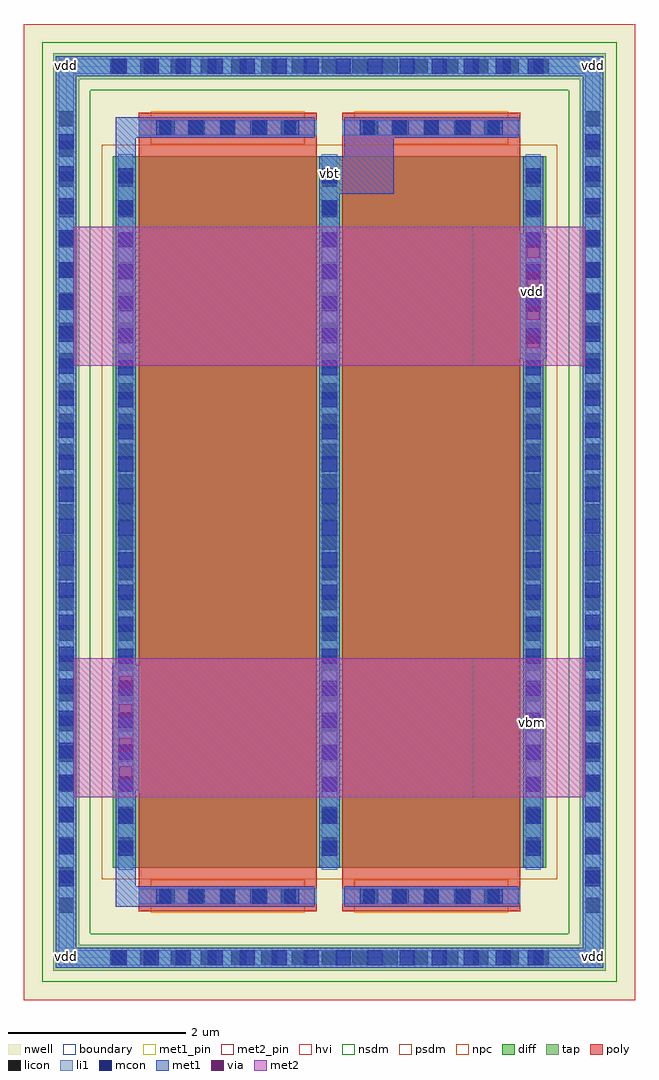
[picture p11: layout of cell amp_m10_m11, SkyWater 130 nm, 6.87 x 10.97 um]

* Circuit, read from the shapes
.subckt amp_m10_m11 vbm vbt vdd
XM1 vbt vbm vbm vdd sky130_fd_pr__pfet_g5v0d10v5 w=8 l=2
XM2 vdd vbt vbt vdd sky130_fd_pr__pfet_g5v0d10v5 w=8 l=2
.ends

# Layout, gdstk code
from math import pi, radians
import gdstk
lib = gdstk.Library(unit=1e-6, precision=1e-09)
def R(c, l, rs):  # rectangles x0, y0, x1, y1
    for r in rs: c.add(gdstk.rectangle(r[:2], r[2:], *l))
def A(c, l, x, y, w, h, nx, ny, dx, dy):  # array of equal rectangles
    R(c, l, [(x+i*dx, y+j*dy, x+i*dx+w, y+j*dy+h) for i in range(nx) for j in range(ny)])
def P(c, l, *ps):  # polygons
    for p in ps: c.add(gdstk.Polygon(p, *l))
nwell = (64, 20)
diff = (65, 20)
tap = (65, 44)
poly = (66, 20)
licon = (66, 44)
li1 = (67, 20)
mcon = (67, 44)
met1_pin = (68, 16)
met1 = (68, 20)
via = (68, 44)
met2_pin = (69, 16)
met2 = (69, 20)
hvi = (75, 20)
nsdm = (93, 44)
psdm = (94, 20)
npc = (95, 20)
boundary = (235, 4)

via__m1_m2 = lib.new_cell('via__M1_M2')
R(via__m1_m2, met1, [(0,0.05,0.7,0.35)])
R(via__m1_m2, via, [(0.115,0.125,0.265,0.275), (0.435,0.125,0.585,0.275)])
R(via__m1_m2, met2, [(0.05,0,0.65,0.4)])

via__li_m1 = lib.new_cell('via__LI_M1')
R(via__li_m1, li1, [(0.03,0.03,0.56,0.2)])
R(via__li_m1, mcon, [(0.03,0.03,0.2,0.2), (0.39,0.03,0.56,0.2)])
R(via__li_m1, met1, [(0,0,0.59,0.23)])

sky130_fd_pr__pfet_g5v0d = lib.new_cell('sky130_fd_pr__pfet_g5v0d10v5_2E4VHB')
R(sky130_fd_pr__pfet_g5v0d, nwell, [(0,0,6.87,10.97)])
R(sky130_fd_pr__pfet_g5v0d, diff, [(1,1.485,5.87,9.485)])
R(sky130_fd_pr__pfet_g5v0d, tap, [(0.33,0.33,6.54,0.62), (0.33,0.62,0.62,10.35), (6.25,0.62,6.54,10.35), (0.33,10.35,6.54,10.64)])
R(sky130_fd_pr__pfet_g5v0d, poly, [(1.29,1,3.29,9.97), (3.58,1,5.58,9.97)])
A(sky130_fd_pr__pfet_g5v0d, licon, 0.97, 0.39, 0.17, 0.17, 15, 2, 0.34, 10.02)
A(sky130_fd_pr__pfet_g5v0d, licon, 0.39, 0.98, 0.17, 0.17, 1, 27, 0, 0.34)
A(sky130_fd_pr__pfet_g5v0d, licon, 6.31, 0.98, 0.17, 0.17, 1, 27, 0, 0.34)
A(sky130_fd_pr__pfet_g5v0d, licon, 1.525, 1.08, 0.17, 0.17, 5, 2, 0.34, 8.64)
A(sky130_fd_pr__pfet_g5v0d, licon, 3.815, 1.08, 0.17, 0.17, 5, 2, 0.34, 8.64)
A(sky130_fd_pr__pfet_g5v0d, licon, 1.06, 1.66, 0.17, 0.17, 3, 23, 2.29, 0.34)
A(sky130_fd_pr__pfet_g5v0d, li1, 1.06, 1.465, 0.17, 8.04, 3, 1, 2.29, 0)
R(sky130_fd_pr__pfet_g5v0d, li1, [(0.39,0.39,6.48,0.56), (0.39,0.56,0.56,10.41), (6.31,0.56,6.48,10.41), (1.29,1.08,3.29,1.25), (3.58,1.08,5.58,1.25), (1.29,9.72,3.29,9.89), (3.58,9.72,5.58,9.89), (0.39,10.41,6.48,10.58)])
A(sky130_fd_pr__pfet_g5v0d, mcon, 1.485, 1.08, 0.17, 0.17, 5, 2, 0.36, 8.64)
A(sky130_fd_pr__pfet_g5v0d, mcon, 3.775, 1.08, 0.17, 0.17, 5, 2, 0.36, 8.64)
A(sky130_fd_pr__pfet_g5v0d, mcon, 1.06, 1.62, 0.17, 0.17, 3, 22, 2.29, 0.36)
A(sky130_fd_pr__pfet_g5v0d, met1, 1.03, 1.485, 0.23, 8, 3, 1, 2.29, 0)
R(sky130_fd_pr__pfet_g5v0d, met1, [(1.31,1.05,3.27,1.28), (3.6,1.05,5.56,1.28), (1.31,9.69,3.27,9.92), (3.6,9.69,5.56,9.92)])
R(sky130_fd_pr__pfet_g5v0d, hvi, [(0,0,6.87,10.97)])
R(sky130_fd_pr__pfet_g5v0d, nsdm, [(0.205,0.205,6.665,0.745), (0.205,0.745,0.745,10.225), (6.125,0.745,6.665,10.225), (0.205,10.225,6.665,10.765)])
R(sky130_fd_pr__pfet_g5v0d, psdm, [(0.875,1.36,5.995,9.61)])
R(sky130_fd_pr__pfet_g5v0d, npc, [(1.425,0.98,3.155,1.35), (3.715,0.98,5.445,1.35), (1.425,9.62,3.155,9.99), (3.715,9.62,5.445,9.99)])
R(sky130_fd_pr__pfet_g5v0d, boundary, [(0.475,0.475,6.395,10.495)])

amp_m10_m11 = lib.new_cell('amp_m10_m11')
R(amp_m10_m11, met1_pin, [(0.36,0.36,0.59,0.59), (6.28,0.36,6.51,0.59), (3.32,9.065,3.55,9.485), (0.36,10.38,0.59,10.61), (6.28,10.38,6.51,10.61)])
R(amp_m10_m11, met1, [(0.36,0.36,6.51,0.59), (0.36,0.36,0.59,10.61), (6.28,0.36,6.51,10.61), (3.32,9.06,4.155,9.485), (3.6,9.06,4.155,9.92), (0.36,10.38,6.51,10.61)])
P(amp_m10_m11, met1, [(1.03,1.05),(1.03,1.485),(1.26,1.485),(1.26,1.28),(1.31,1.28),(1.31,1.05)],
  [(1.03,9.485),(1.03,9.92),(1.31,9.92),(1.31,9.69),(1.26,9.69),(1.26,9.485)])
R(amp_m10_m11, met2_pin, [(5.045,2.28,6.31,3.84), (5.045,7.13,6.31,8.69)])
R(amp_m10_m11, met2, [(0.56,2.28,6.31,3.84), (0.56,7.13,6.31,8.69)])
amp_m10_m11.add(gdstk.Reference(via__m1_m2, (0.945,3.06), rotation=3*pi/2))
amp_m10_m11.add(gdstk.Reference(via__m1_m2, (0.945,3.76), rotation=3*pi/2))
amp_m10_m11.add(gdstk.Reference(via__m1_m2, (5.525,7.91), rotation=3*pi/2))
amp_m10_m11.add(gdstk.Reference(via__m1_m2, (5.525,8.61), rotation=3*pi/2))
amp_m10_m11.add(gdstk.Reference(via__li_m1, (0.36,1.84), rotation=3*pi/2))
amp_m10_m11.add(gdstk.Reference(via__li_m1, (6.28,1.84), rotation=3*pi/2))
amp_m10_m11.add(gdstk.Reference(via__li_m1, (0.36,2.56), rotation=3*pi/2))
amp_m10_m11.add(gdstk.Reference(via__li_m1, (6.28,2.56), rotation=3*pi/2))
amp_m10_m11.add(gdstk.Reference(via__li_m1, (0.36,3.28), rotation=3*pi/2))
amp_m10_m11.add(gdstk.Reference(via__li_m1, (6.28,3.28), rotation=3*pi/2))
amp_m10_m11.add(gdstk.Reference(via__li_m1, (0.36,4), rotation=3*pi/2))
amp_m10_m11.add(gdstk.Reference(via__li_m1, (6.28,4), rotation=3*pi/2))
amp_m10_m11.add(gdstk.Reference(via__li_m1, (0.36,4.72), rotation=3*pi/2))
amp_m10_m11.add(gdstk.Reference(via__li_m1, (6.28,4.72), rotation=3*pi/2))
amp_m10_m11.add(gdstk.Reference(via__li_m1, (0.36,5.44), rotation=3*pi/2))
amp_m10_m11.add(gdstk.Reference(via__li_m1, (6.28,5.44), rotation=3*pi/2))
amp_m10_m11.add(gdstk.Reference(via__li_m1, (0.36,6.16), rotation=3*pi/2))
amp_m10_m11.add(gdstk.Reference(via__li_m1, (6.28,6.16), rotation=3*pi/2))
amp_m10_m11.add(gdstk.Reference(via__li_m1, (0.36,6.88), rotation=3*pi/2))
amp_m10_m11.add(gdstk.Reference(via__li_m1, (6.28,6.88), rotation=3*pi/2))
amp_m10_m11.add(gdstk.Reference(via__li_m1, (0.36,7.6), rotation=3*pi/2))
amp_m10_m11.add(gdstk.Reference(via__li_m1, (6.28,7.6), rotation=3*pi/2))
amp_m10_m11.add(gdstk.Reference(via__li_m1, (0.36,8.32), rotation=3*pi/2))
amp_m10_m11.add(gdstk.Reference(via__li_m1, (6.28,8.32), rotation=3*pi/2))
amp_m10_m11.add(gdstk.Reference(via__li_m1, (0.36,9.04), rotation=3*pi/2))
amp_m10_m11.add(gdstk.Reference(via__li_m1, (6.28,9.04), rotation=3*pi/2))
amp_m10_m11.add(gdstk.Reference(via__li_m1, (0.36,9.76), rotation=3*pi/2))
amp_m10_m11.add(gdstk.Reference(via__li_m1, (6.28,9.76), rotation=3*pi/2))
amp_m10_m11.add(gdstk.Reference(via__li_m1, (0.955,0.36)))
amp_m10_m11.add(gdstk.Reference(via__li_m1, (1.675,0.36)))
amp_m10_m11.add(gdstk.Reference(via__li_m1, (2.395,0.36)))
amp_m10_m11.add(gdstk.Reference(via__li_m1, (3.115,0.36)))
amp_m10_m11.add(gdstk.Reference(via__li_m1, (3.835,0.36)))
amp_m10_m11.add(gdstk.Reference(via__li_m1, (4.555,0.36)))
amp_m10_m11.add(gdstk.Reference(via__li_m1, (5.275,0.36)))
amp_m10_m11.add(gdstk.Reference(via__li_m1, (0.955,10.38)))
amp_m10_m11.add(gdstk.Reference(via__li_m1, (1.675,10.38)))
amp_m10_m11.add(gdstk.Reference(via__li_m1, (2.395,10.38)))
amp_m10_m11.add(gdstk.Reference(via__li_m1, (3.115,10.38)))
amp_m10_m11.add(gdstk.Reference(via__li_m1, (3.835,10.38)))
amp_m10_m11.add(gdstk.Reference(via__li_m1, (4.555,10.38)))
amp_m10_m11.add(gdstk.Reference(via__li_m1, (5.275,10.38)))
amp_m10_m11.add(gdstk.Reference(sky130_fd_pr__pfet_g5v0d, (0,0)))
amp_m10_m11.add(gdstk.Label('vbm', (5.72,3.115), layer=69, texttype=5))
amp_m10_m11.add(gdstk.Label('vdd', (5.72,7.965), layer=69, texttype=5))
amp_m10_m11.add(gdstk.Label('vbt', (3.435,9.29), layer=68, texttype=5))
amp_m10_m11.add(gdstk.Label('vdd', (0.48,0.485), layer=68, texttype=5))
amp_m10_m11.add(gdstk.Label('vdd', (6.4,0.485), layer=68, texttype=5))
amp_m10_m11.add(gdstk.Label('vdd', (0.48,10.505), layer=68, texttype=5))
amp_m10_m11.add(gdstk.Label('vdd', (6.4,10.505), layer=68, texttype=5))

lib.write_gds('amp_m10_m11.gds')
